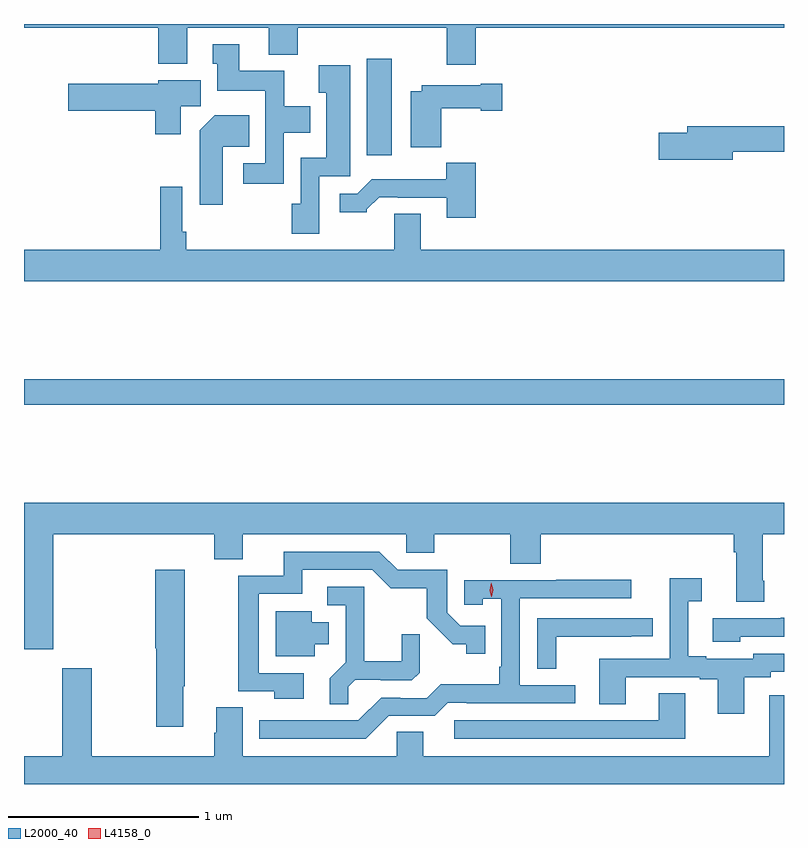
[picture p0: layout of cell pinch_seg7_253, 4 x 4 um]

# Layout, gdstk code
import gdstk
lib = gdstk.Library(unit=1e-6, precision=1e-09)
def R(c, l, rs):  # rectangles x0, y0, x1, y1
    for r in rs: c.add(gdstk.rectangle(r[:2], r[2:], *l))
def P(c, l, *ps):  # polygons
    for p in ps: c.add(gdstk.Polygon(p, *l))
L2000_40 = (2000, 40)
L4158_0 = (4158, 0)

pinch_seg7_253 = lib.new_cell('pinch_seg7_253')
R(pinch_seg7_253, L2000_40, [(803.131,1051.912,807.131,1052.048), (804.935,1053.225,805.066,1053.733)])
P(pinch_seg7_253, L2000_40, [(805.508,1053.896),(807.131,1053.896),(807.131,1053.917),(803.131,1053.917),(803.131,1053.896),(803.837,1053.896),(803.837,1053.707),(803.989,1053.707),(803.989,1053.896),(804.419,1053.896),(804.419,1053.755),(804.572,1053.755),(804.572,1053.896),(805.355,1053.896),(805.355,1053.702),(805.508,1053.702)],
  [(804.498,1053.344),(804.637,1053.344),(804.637,1053.483),(804.5,1053.483),(804.5,1053.67),(804.265,1053.67),(804.265,1053.811),(804.125,1053.811),(804.125,1053.708),(804.149,1053.708),(804.149,1053.566),(804.402,1053.566),(804.402,1053.183),(804.285,1053.183),(804.285,1053.075),(804.498,1053.075)],
  [(804.684,1053.117),(804.847,1053.117),(804.847,1053.7),(804.683,1053.7),(804.683,1053.554),(804.722,1053.554),(804.722,1053.214),(804.588,1053.214),(804.588,1052.97),(804.541,1052.97),(804.541,1052.814),(804.684,1052.814)],
  [(803.956,1053.484),(804.061,1053.484),(804.061,1053.622),(803.838,1053.622),(803.838,1053.603),(803.364,1053.603),(803.364,1053.461),(803.822,1053.461),(803.822,1053.336),(803.956,1053.336)],
  [(805.328,1053.473),(805.535,1053.473),(805.535,1053.461),(805.648,1053.461),(805.648,1053.603),(805.535,1053.603),(805.535,1053.595),(805.224,1053.595),(805.224,1053.562),(805.166,1053.562),(805.166,1053.269),(805.328,1053.269)],
  [(804.178,1053.272),(804.317,1053.272),(804.317,1053.436),(804.134,1053.436),(804.056,1053.358),(804.056,1052.967),(804.178,1052.967)],
  [(806.86,1053.244),(807.131,1053.244),(807.131,1053.38),(806.621,1053.38),(806.621,1053.344),(806.472,1053.344),(806.472,1053.202),(806.86,1053.202)],
  [(805.508,1053.187),(805.353,1053.187),(805.353,1053.1),(804.961,1053.1),(804.885,1053.024),(804.792,1053.024),(804.792,1052.927),(804.936,1052.927),(804.936,1052.942),(805,1053.006),(805.099,1053.006),(805.099,1053.003),(805.355,1053.003),(805.355,1052.898),(805.508,1052.898)],
  [(807.131,1052.728),(805.219,1052.728),(805.219,1052.918),(805.079,1052.918),(805.079,1052.728),(803.984,1052.728),(803.984,1052.824),(803.964,1052.824),(803.964,1053.061),(803.848,1053.061),(803.848,1052.728),(803.131,1052.728),(803.131,1052.564),(807.131,1052.564)],
  [(803.131,1050.626),(803.284,1050.626),(803.284,1051.232),(804.131,1051.232),(804.131,1051.099),(804.283,1051.099),(804.283,1051.232),(805.143,1051.232),(805.143,1051.134),(805.29,1051.134),(805.29,1051.232),(805.69,1051.232),(805.69,1051.075),(805.85,1051.075),(805.85,1051.232),(806.867,1051.232),(806.867,1051.136),(806.879,1051.136),(806.879,1050.876),(807.027,1050.876),(807.027,1050.988),(807.019,1050.988),(807.019,1051.232),(807.131,1051.232),(807.131,1051.396),(803.131,1051.396)],
  [(804.604,1050.501),(804.366,1050.501),(804.366,1050.918),(804.595,1050.918),(804.595,1051.044),(804.963,1051.044),(805.062,1050.946),(805.251,1050.946),(805.251,1050.79),(805.388,1050.653),(805.458,1050.653),(805.458,1050.603),(805.559,1050.603),(805.559,1050.75),(805.428,1050.75),(805.359,1050.819),(805.359,1051.044),(805.098,1051.044),(805.002,1051.14),(804.497,1051.14),(804.497,1051.014),(804.258,1051.014),(804.258,1050.405),(804.448,1050.405),(804.448,1050.365),(804.604,1050.365)],
  [(803.968,1050.431),(803.976,1050.431),(803.976,1051.045),(803.822,1051.045),(803.822,1050.632),(803.827,1050.632),(803.827,1050.219),(803.968,1050.219)],
  [(806.923,1050.48),(807.06,1050.48),(807.06,1050.507),(807.131,1050.507),(807.131,1050.603),(806.97,1050.603),(806.97,1050.576),(806.722,1050.576),(806.722,1050.589),(806.626,1050.589),(806.626,1050.88),(806.698,1050.88),(806.698,1051),(806.529,1051),(806.529,1050.576),(806.159,1050.576),(806.159,1050.337),(806.299,1050.337),(806.299,1050.48),(806.687,1050.48),(806.687,1050.468),(806.783,1050.468),(806.783,1050.288),(806.923,1050.288)],
  [(805.05,1050.276),(805.293,1050.276),(805.362,1050.345),(805.462,1050.345),(805.462,1050.342),(806.032,1050.342),(806.032,1050.438),(805.74,1050.438),(805.74,1050.894),(806.326,1050.894),(806.326,1050.993),(805.933,1050.993),(805.933,1050.99),(805.449,1050.99),(805.449,1050.861),(805.545,1050.861),(805.545,1050.893),(805.644,1050.893),(805.644,1050.535),(805.632,1050.535),(805.632,1050.442),(805.324,1050.442),(805.251,1050.369),(805.112,1050.369),(805.112,1050.372),(805.011,1050.372),(804.891,1050.252),(804.368,1050.252),(804.368,1050.156),(804.93,1050.156)],
  [(804.837,1050.428),(804.874,1050.465),(805.008,1050.465),(805.008,1050.462),(805.173,1050.462),(805.214,1050.503),(805.214,1050.705),(805.12,1050.705),(805.12,1050.562),(804.923,1050.562),(804.923,1050.954),(804.726,1050.954),(804.726,1050.858),(804.825,1050.858),(804.825,1050.559),(804.739,1050.473),(804.739,1050.337),(804.837,1050.337)],
  [(804.661,1050.653),(804.736,1050.653),(804.736,1050.769),(804.646,1050.769),(804.646,1050.826),(804.455,1050.826),(804.455,1050.59),(804.661,1050.59)],
  [(806.901,1050.693),(807.131,1050.693),(807.131,1050.792),(807.115,1050.792),(807.115,1050.789),(806.757,1050.789),(806.757,1050.665),(806.901,1050.665)],
  [(805.932,1050.693),(806.327,1050.693),(806.327,1050.694),(806.44,1050.694),(806.44,1050.789),(805.833,1050.789),(805.833,1050.523),(805.932,1050.523)],
  [(807.131,1050.385),(807.053,1050.385),(807.053,1050.064),(805.231,1050.064),(805.231,1050.191),(805.092,1050.191),(805.092,1050.064),(804.283,1050.064),(804.283,1050.32),(804.143,1050.32),(804.143,1050.186),(804.131,1050.186),(804.131,1050.064),(803.487,1050.064),(803.487,1050.526),(803.332,1050.526),(803.332,1050.064),(803.131,1050.064),(803.131,1049.917),(807.131,1049.917)],
  [(806.611,1050.395),(806.471,1050.395),(806.471,1050.252),(805.395,1050.252),(805.395,1050.156),(806.611,1050.156)])
P(pinch_seg7_253, L4158_0, [(805.591,1050.903),(805.581,1050.938),(805.59,1050.975),(805.59,1050.975),(805.59,1050.975),(805.601,1050.939),(805.592,1050.903),(805.592,1050.903)])

lib.write_gds('pinch_seg7_253.gds')
